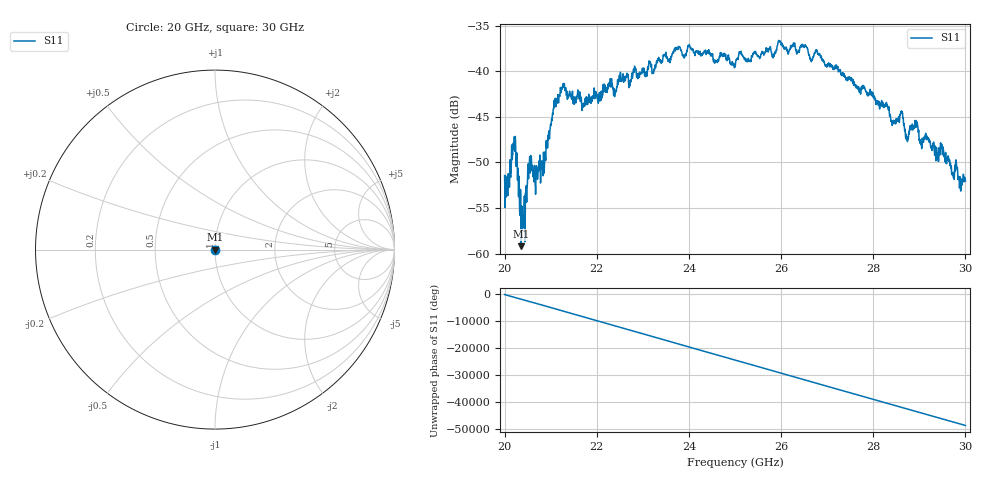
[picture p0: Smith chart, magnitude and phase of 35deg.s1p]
#  HZ  S  RI  R  50.00
! Rohde & Schwarz ZVA40 4Ports - Version 3.90 - 1145.1110k42 SN: 100403
! Date: 2023-10-03 10:39:08
! Measurement: S12
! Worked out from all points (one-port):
!   5001 points, 20 GHz to 30 GHz, reference 50 ohm
!   lowest |S11| = -59.2 dB at 20.36 GHz (marker M1), VSWR 1.00, Z = 50.1 - j0.0152 ohm
!   |S11| at or under -10 dB: start of sweep to end of sweep
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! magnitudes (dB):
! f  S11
! 20 GHz  -51.4
! 20.06 GHz  -52.4
! 20.22 GHz  -48.3
! 20.36 GHz  -59.2
! 20.41 GHz  -56.4
! 20.55 GHz  -49.6
! 20.67 GHz  -52.5
! 20.82 GHz  -50.1
! 21.08 GHz  -43.5
! 21.25 GHz  -41.9
! 21.72 GHz  -43.8
! 22.29 GHz  -41.4
! 22.39 GHz  -42.5
! 22.5 GHz  -41.0
! 23.24 GHz  -39.9
! 23.75 GHz  -37.5
! 25 GHz  -39.5
! 26.25 GHz  -37.2
! 27.5 GHz  -40.8
! 28.3 GHz  -43.8
! 28.43 GHz  -45.7
! 28.6 GHz  -44.4
! 28.75 GHz  -47.3
! 28.94 GHz  -46.1
! 29.04 GHz  -47.9
! 29.5 GHz  -49.0
! 29.72 GHz  -51.3
! 30 GHz  -52.1
